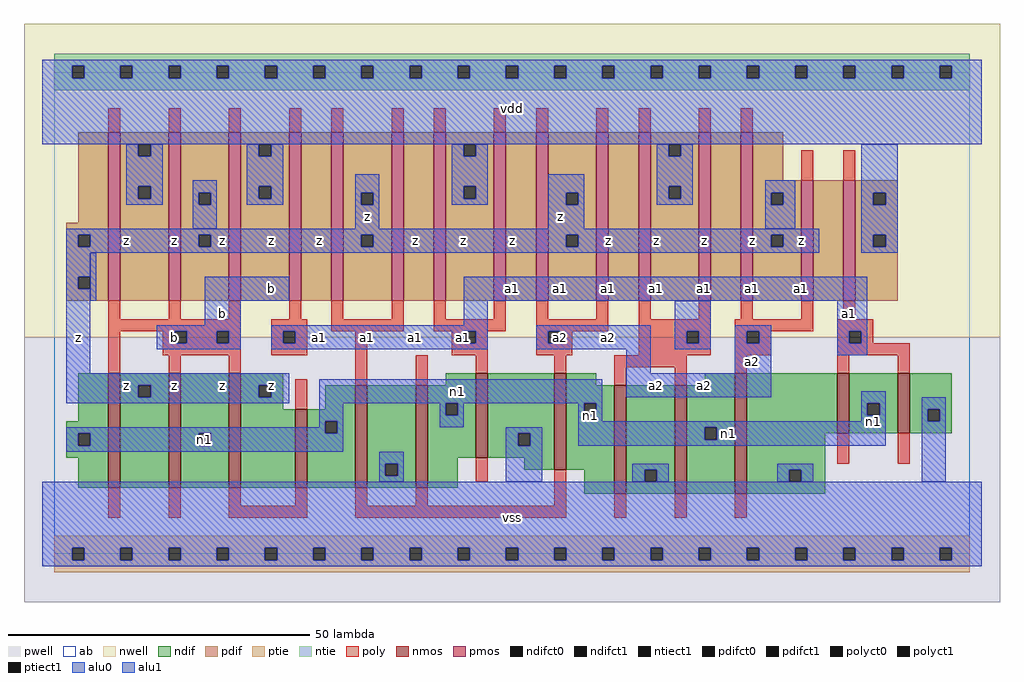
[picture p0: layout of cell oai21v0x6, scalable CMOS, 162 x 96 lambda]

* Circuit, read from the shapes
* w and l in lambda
.subckt oai21v0x6 a1 a2 b n1 vdd vss z
M1 z b n1 vss nfet w=19 l=2 m=3
M2 n1 b z vss nfet w=13 l=2
M3 vss a2 n1 vss nfet w=17 l=2 m=2
M4 vss a1 n1 vss nfet w=14 l=2
M5 n1 a2 vss vss nfet w=16 l=2
M6 vss a1 n1 vss nfet w=18 l=2 m=2
M7 vss a2 n1 vss nfet w=20 l=2
M8 n1 a1 vss vss nfet w=10 l=2 m=2
M9 vdd b z vdd pfet w=28 l=2 m=3
M10 n2 a1 vdd vdd pfet w=28 l=2
M11 z a2 n2 vdd pfet w=28 l=2
M12 n3 a2 z vdd pfet w=28 l=2
M13 vdd a1 n3 vdd pfet w=28 l=2
M14 n4 a1 vdd vdd pfet w=28 l=2
M15 z a2 n4 vdd pfet w=28 l=2
M16 n5 a2 z vdd pfet w=28 l=2
M17 vdd a1 n5 vdd pfet w=28 l=2
M18 n6 a1 vdd vdd pfet w=28 l=2
M19 z a2 n6 vdd pfet w=28 l=2
M20 n7 a2 z vdd pfet w=20 l=2
M21 vdd a1 n7 vdd pfet w=20 l=2
.ends

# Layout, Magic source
magic
tech scmos
<< ab >>
rect 0 0 152 80
<< nwell >>
rect -5 36 157 88
<< pwell >>
rect -5 -8 157 36
<< poly >>
rect 9 70 11 74
rect 19 70 21 74
rect 29 70 31 74
rect 39 70 41 74
rect 46 70 48 74
rect 56 70 58 74
rect 63 70 65 74
rect 73 70 75 74
rect 80 70 82 74
rect 90 70 92 74
rect 97 70 99 74
rect 107 70 109 74
rect 114 70 116 74
rect 124 62 126 67
rect 131 62 133 67
rect 9 39 11 42
rect 19 39 21 42
rect 29 39 31 42
rect 39 39 41 42
rect 46 39 48 42
rect 56 39 58 42
rect 9 37 31 39
rect 9 30 11 37
rect 18 35 20 37
rect 22 35 27 37
rect 29 35 31 37
rect 18 33 31 35
rect 36 37 42 39
rect 46 37 58 39
rect 63 39 65 42
rect 73 39 75 42
rect 63 37 75 39
rect 80 39 82 42
rect 90 39 92 42
rect 80 37 92 39
rect 97 39 99 42
rect 107 39 109 42
rect 114 39 116 42
rect 124 39 126 42
rect 131 39 133 42
rect 97 37 109 39
rect 36 35 38 37
rect 40 35 42 37
rect 36 33 42 35
rect 19 30 21 33
rect 29 30 31 33
rect 40 24 42 29
rect 50 28 52 37
rect 66 35 68 37
rect 70 35 72 37
rect 66 33 72 35
rect 80 35 82 37
rect 84 35 86 37
rect 80 33 86 35
rect 97 35 105 37
rect 107 35 109 37
rect 97 33 109 35
rect 113 37 126 39
rect 130 37 136 39
rect 113 35 115 37
rect 117 35 119 37
rect 113 33 119 35
rect 130 35 132 37
rect 134 35 136 37
rect 130 33 142 35
rect 60 28 62 33
rect 70 30 72 33
rect 83 30 85 33
rect 93 31 105 33
rect 70 12 72 16
rect 93 28 95 31
rect 103 28 105 31
rect 113 30 115 33
rect 130 30 132 33
rect 140 30 142 33
rect 9 6 11 11
rect 19 6 21 11
rect 29 8 31 11
rect 40 8 42 11
rect 29 6 42 8
rect 50 8 52 11
rect 60 8 62 11
rect 83 8 85 14
rect 130 15 132 20
rect 140 15 142 20
rect 50 6 85 8
rect 93 6 95 10
rect 103 6 105 10
rect 113 6 115 10
<< ndif >>
rect 4 22 9 30
rect 2 20 9 22
rect 2 18 4 20
rect 6 18 9 20
rect 2 16 9 18
rect 4 11 9 16
rect 11 28 19 30
rect 11 26 14 28
rect 16 26 19 28
rect 11 11 19 26
rect 21 20 29 30
rect 21 18 24 20
rect 26 18 29 20
rect 21 11 29 18
rect 31 28 38 30
rect 31 26 34 28
rect 36 26 38 28
rect 31 24 38 26
rect 65 28 70 30
rect 45 24 50 28
rect 31 11 40 24
rect 42 22 50 24
rect 42 20 45 22
rect 47 20 50 22
rect 42 11 50 20
rect 52 15 60 28
rect 52 13 55 15
rect 57 13 60 15
rect 52 11 60 13
rect 62 25 70 28
rect 62 23 65 25
rect 67 23 70 25
rect 62 16 70 23
rect 72 20 83 30
rect 72 18 77 20
rect 79 18 83 20
rect 72 16 83 18
rect 62 11 67 16
rect 78 14 83 16
rect 85 28 90 30
rect 108 28 113 30
rect 85 25 93 28
rect 85 23 88 25
rect 90 23 93 25
rect 85 14 93 23
rect 88 10 93 14
rect 95 14 103 28
rect 95 12 98 14
rect 100 12 103 14
rect 95 10 103 12
rect 105 21 113 28
rect 105 19 108 21
rect 110 19 113 21
rect 105 10 113 19
rect 115 20 130 30
rect 132 25 140 30
rect 132 23 135 25
rect 137 23 140 25
rect 132 20 140 23
rect 142 24 149 30
rect 142 22 145 24
rect 147 22 149 24
rect 142 20 149 22
rect 115 14 128 20
rect 115 12 122 14
rect 124 12 128 14
rect 115 10 128 12
<< pdif >>
rect 4 55 9 70
rect 2 53 9 55
rect 2 51 4 53
rect 6 51 9 53
rect 2 46 9 51
rect 2 44 4 46
rect 6 44 9 46
rect 2 42 9 44
rect 11 68 19 70
rect 11 66 14 68
rect 16 66 19 68
rect 11 61 19 66
rect 11 59 14 61
rect 16 59 19 61
rect 11 42 19 59
rect 21 60 29 70
rect 21 58 24 60
rect 26 58 29 60
rect 21 53 29 58
rect 21 51 24 53
rect 26 51 29 53
rect 21 42 29 51
rect 31 68 39 70
rect 31 66 34 68
rect 36 66 39 68
rect 31 61 39 66
rect 31 59 34 61
rect 36 59 39 61
rect 31 42 39 59
rect 41 42 46 70
rect 48 60 56 70
rect 48 58 51 60
rect 53 58 56 60
rect 48 53 56 58
rect 48 51 51 53
rect 53 51 56 53
rect 48 42 56 51
rect 58 42 63 70
rect 65 68 73 70
rect 65 66 68 68
rect 70 66 73 68
rect 65 61 73 66
rect 65 59 68 61
rect 70 59 73 61
rect 65 42 73 59
rect 75 42 80 70
rect 82 60 90 70
rect 82 58 85 60
rect 87 58 90 60
rect 82 53 90 58
rect 82 51 85 53
rect 87 51 90 53
rect 82 42 90 51
rect 92 42 97 70
rect 99 68 107 70
rect 99 66 102 68
rect 104 66 107 68
rect 99 61 107 66
rect 99 59 102 61
rect 104 59 107 61
rect 99 42 107 59
rect 109 42 114 70
rect 116 62 121 70
rect 116 60 124 62
rect 116 58 119 60
rect 121 58 124 60
rect 116 53 124 58
rect 116 51 119 53
rect 121 51 124 53
rect 116 42 124 51
rect 126 42 131 62
rect 133 60 140 62
rect 133 58 136 60
rect 138 58 140 60
rect 133 53 140 58
rect 133 51 136 53
rect 138 51 140 53
rect 133 42 140 51
<< alu1 >>
rect -2 81 154 82
rect -2 79 3 81
rect 5 79 11 81
rect 13 79 19 81
rect 21 79 27 81
rect 29 79 35 81
rect 37 79 43 81
rect 45 79 51 81
rect 53 79 59 81
rect 61 79 67 81
rect 69 79 75 81
rect 77 79 83 81
rect 85 79 91 81
rect 93 79 99 81
rect 101 79 107 81
rect 109 79 115 81
rect 117 79 123 81
rect 125 79 131 81
rect 133 79 139 81
rect 141 79 147 81
rect 149 79 154 81
rect -2 68 154 79
rect 50 60 54 63
rect 50 58 51 60
rect 53 58 54 60
rect 82 60 88 63
rect 82 58 85 60
rect 87 58 88 60
rect 50 54 54 58
rect 82 54 88 58
rect 2 53 127 54
rect 2 51 4 53
rect 6 51 24 53
rect 26 51 51 53
rect 53 51 85 53
rect 87 51 119 53
rect 121 51 127 53
rect 2 50 127 51
rect 2 46 6 50
rect 2 44 4 46
rect 2 30 6 44
rect 25 42 39 46
rect 68 42 135 46
rect 25 38 31 42
rect 68 38 72 42
rect 17 37 31 38
rect 17 35 20 37
rect 22 35 27 37
rect 29 35 31 37
rect 17 34 31 35
rect 36 37 72 38
rect 36 35 38 37
rect 40 35 68 37
rect 70 35 72 37
rect 36 34 72 35
rect 80 37 99 38
rect 80 35 82 37
rect 84 35 99 37
rect 80 34 99 35
rect 113 37 119 38
rect 113 35 115 37
rect 117 35 119 37
rect 95 30 99 34
rect 113 30 119 35
rect 130 37 135 42
rect 130 35 132 37
rect 134 35 135 37
rect 130 33 135 35
rect 2 28 39 30
rect 2 26 14 28
rect 16 26 34 28
rect 36 26 39 28
rect 2 25 39 26
rect 95 26 119 30
rect -2 1 154 12
rect -2 -1 3 1
rect 5 -1 11 1
rect 13 -1 19 1
rect 21 -1 27 1
rect 29 -1 35 1
rect 37 -1 43 1
rect 45 -1 51 1
rect 53 -1 59 1
rect 61 -1 67 1
rect 69 -1 75 1
rect 77 -1 83 1
rect 85 -1 91 1
rect 93 -1 99 1
rect 101 -1 107 1
rect 109 -1 115 1
rect 117 -1 123 1
rect 125 -1 131 1
rect 133 -1 139 1
rect 141 -1 147 1
rect 149 -1 154 1
rect -2 -2 154 -1
<< ptie >>
rect 0 1 152 3
rect 0 -1 3 1
rect 5 -1 11 1
rect 13 -1 19 1
rect 21 -1 27 1
rect 29 -1 35 1
rect 37 -1 43 1
rect 45 -1 51 1
rect 53 -1 59 1
rect 61 -1 67 1
rect 69 -1 75 1
rect 77 -1 83 1
rect 85 -1 91 1
rect 93 -1 99 1
rect 101 -1 107 1
rect 109 -1 115 1
rect 117 -1 123 1
rect 125 -1 131 1
rect 133 -1 139 1
rect 141 -1 147 1
rect 149 -1 152 1
rect 0 -3 152 -1
<< ntie >>
rect 0 81 152 83
rect 0 79 3 81
rect 5 79 11 81
rect 13 79 19 81
rect 21 79 27 81
rect 29 79 35 81
rect 37 79 43 81
rect 45 79 51 81
rect 53 79 59 81
rect 61 79 67 81
rect 69 79 75 81
rect 77 79 83 81
rect 85 79 91 81
rect 93 79 99 81
rect 101 79 107 81
rect 109 79 115 81
rect 117 79 123 81
rect 125 79 131 81
rect 133 79 139 81
rect 141 79 147 81
rect 149 79 152 81
rect 0 77 152 79
<< nmos >>
rect 9 11 11 30
rect 19 11 21 30
rect 29 11 31 30
rect 40 11 42 24
rect 50 11 52 28
rect 60 11 62 28
rect 70 16 72 30
rect 83 14 85 30
rect 93 10 95 28
rect 103 10 105 28
rect 113 10 115 30
rect 130 20 132 30
rect 140 20 142 30
<< pmos >>
rect 9 42 11 70
rect 19 42 21 70
rect 29 42 31 70
rect 39 42 41 70
rect 46 42 48 70
rect 56 42 58 70
rect 63 42 65 70
rect 73 42 75 70
rect 80 42 82 70
rect 90 42 92 70
rect 97 42 99 70
rect 107 42 109 70
rect 114 42 116 70
rect 124 42 126 62
rect 131 42 133 62
<< polyct0 >>
rect 105 35 107 37
<< polyct1 >>
rect 20 35 22 37
rect 27 35 29 37
rect 38 35 40 37
rect 68 35 70 37
rect 82 35 84 37
rect 115 35 117 37
rect 132 35 134 37
<< ndifct0 >>
rect 4 18 6 20
rect 24 18 26 20
rect 45 20 47 22
rect 55 13 57 15
rect 65 23 67 25
rect 77 18 79 20
rect 88 23 90 25
rect 98 12 100 14
rect 108 19 110 21
rect 135 23 137 25
rect 145 22 147 24
rect 122 12 124 14
<< ndifct1 >>
rect 14 26 16 28
rect 34 26 36 28
<< ntiect1 >>
rect 3 79 5 81
rect 11 79 13 81
rect 19 79 21 81
rect 27 79 29 81
rect 35 79 37 81
rect 43 79 45 81
rect 51 79 53 81
rect 59 79 61 81
rect 67 79 69 81
rect 75 79 77 81
rect 83 79 85 81
rect 91 79 93 81
rect 99 79 101 81
rect 107 79 109 81
rect 115 79 117 81
rect 123 79 125 81
rect 131 79 133 81
rect 139 79 141 81
rect 147 79 149 81
<< ptiect1 >>
rect 3 -1 5 1
rect 11 -1 13 1
rect 19 -1 21 1
rect 27 -1 29 1
rect 35 -1 37 1
rect 43 -1 45 1
rect 51 -1 53 1
rect 59 -1 61 1
rect 67 -1 69 1
rect 75 -1 77 1
rect 83 -1 85 1
rect 91 -1 93 1
rect 99 -1 101 1
rect 107 -1 109 1
rect 115 -1 117 1
rect 123 -1 125 1
rect 131 -1 133 1
rect 139 -1 141 1
rect 147 -1 149 1
<< pdifct0 >>
rect 14 66 16 68
rect 14 59 16 61
rect 24 58 26 60
rect 34 66 36 68
rect 34 59 36 61
rect 68 66 70 68
rect 68 59 70 61
rect 102 66 104 68
rect 102 59 104 61
rect 119 58 121 60
rect 136 58 138 60
rect 136 51 138 53
<< pdifct1 >>
rect 4 51 6 53
rect 4 44 6 46
rect 24 51 26 53
rect 51 58 53 60
rect 51 51 53 53
rect 85 58 87 60
rect 85 51 87 53
rect 119 51 121 53
<< alu0 >>
rect 12 66 14 68
rect 16 66 18 68
rect 12 61 18 66
rect 32 66 34 68
rect 36 66 38 68
rect 12 59 14 61
rect 16 59 18 61
rect 12 58 18 59
rect 23 60 27 62
rect 23 58 24 60
rect 26 58 27 60
rect 32 61 38 66
rect 66 66 68 68
rect 70 66 72 68
rect 32 59 34 61
rect 36 59 38 61
rect 32 58 38 59
rect 66 61 72 66
rect 100 66 102 68
rect 104 66 106 68
rect 66 59 68 61
rect 70 59 72 61
rect 66 58 72 59
rect 100 61 106 66
rect 100 59 102 61
rect 104 59 106 61
rect 100 58 106 59
rect 118 60 123 62
rect 118 58 119 60
rect 121 58 123 60
rect 23 54 27 58
rect 118 54 123 58
rect 134 60 140 68
rect 134 58 136 60
rect 138 58 140 60
rect 134 53 140 58
rect 134 51 136 53
rect 138 51 140 53
rect 134 50 140 51
rect 6 42 7 50
rect 103 37 109 42
rect 103 35 105 37
rect 107 35 109 37
rect 103 34 109 35
rect 44 25 91 29
rect 44 22 48 25
rect 44 21 45 22
rect 2 20 45 21
rect 47 20 48 22
rect 64 23 65 25
rect 67 23 68 25
rect 64 21 68 23
rect 87 23 88 25
rect 90 23 91 25
rect 87 22 91 23
rect 134 25 138 27
rect 134 23 135 25
rect 137 23 138 25
rect 134 22 138 23
rect 87 21 138 22
rect 2 18 4 20
rect 6 18 24 20
rect 26 18 48 20
rect 2 17 48 18
rect 75 20 81 21
rect 75 18 77 20
rect 79 18 81 20
rect 87 19 108 21
rect 110 19 138 21
rect 87 18 138 19
rect 144 24 148 26
rect 144 22 145 24
rect 147 22 148 24
rect 54 15 58 17
rect 54 13 55 15
rect 57 13 58 15
rect 54 12 58 13
rect 75 12 81 18
rect 96 14 102 15
rect 96 12 98 14
rect 100 12 102 14
rect 120 14 126 15
rect 120 12 122 14
rect 124 12 126 14
rect 144 12 148 22
<< labels >>
rlabel ndifct0 25 19 25 19 6 n1
rlabel alu0 89 23 89 23 6 n1
rlabel alu0 67 27 67 27 6 n1
rlabel alu0 112 20 112 20 6 n1
rlabel alu0 136 22 136 22 6 n1
rlabel alu1 20 28 20 28 6 z
rlabel alu1 12 28 12 28 6 z
rlabel alu1 20 36 20 36 6 b
rlabel alu1 4 36 4 36 6 z
rlabel alu1 20 52 20 52 6 z
rlabel alu1 12 52 12 52 6 z
rlabel alu1 28 28 28 28 6 z
rlabel alu1 36 28 36 28 6 z
rlabel alu1 28 40 28 40 6 b
rlabel alu1 52 36 52 36 6 a1
rlabel alu1 44 36 44 36 6 a1
rlabel alu1 36 44 36 44 6 b
rlabel alu1 44 52 44 52 6 z
rlabel alu1 36 52 36 52 6 z
rlabel alu1 28 52 28 52 6 z
rlabel alu1 52 56 52 56 6 z
rlabel alu1 76 6 76 6 6 vss
rlabel alu1 60 36 60 36 6 a1
rlabel alu1 84 44 84 44 6 a1
rlabel alu1 84 36 84 36 6 a2
rlabel alu1 76 44 76 44 6 a1
rlabel alu1 68 36 68 36 6 a1
rlabel alu1 76 52 76 52 6 z
rlabel alu1 68 52 68 52 6 z
rlabel alu1 60 52 60 52 6 z
rlabel alu1 84 56 84 56 6 z
rlabel alu1 76 74 76 74 6 vdd
rlabel alu1 108 28 108 28 6 a2
rlabel alu1 100 28 100 28 6 a2
rlabel alu1 116 32 116 32 6 a2
rlabel alu1 92 44 92 44 6 a1
rlabel alu1 92 36 92 36 6 a2
rlabel alu1 116 44 116 44 6 a1
rlabel alu1 108 44 108 44 6 a1
rlabel alu1 100 44 100 44 6 a1
rlabel alu1 116 52 116 52 6 z
rlabel alu1 108 52 108 52 6 z
rlabel alu1 100 52 100 52 6 z
rlabel alu1 92 52 92 52 6 z
rlabel alu1 124 44 124 44 6 a1
rlabel alu1 132 40 132 40 6 a1
rlabel alu1 124 52 124 52 6 z
<< end >>
